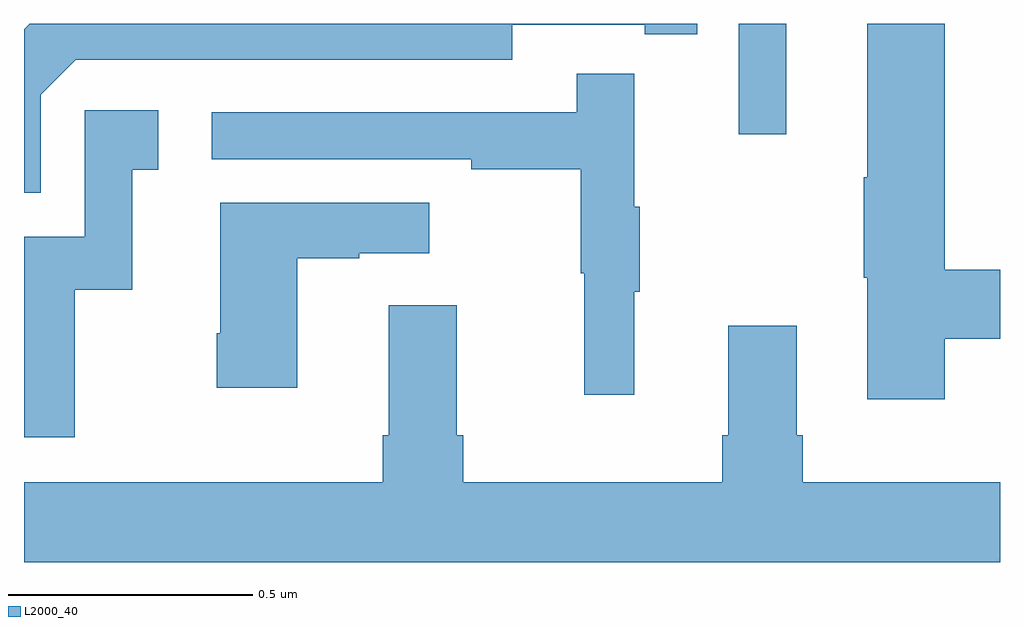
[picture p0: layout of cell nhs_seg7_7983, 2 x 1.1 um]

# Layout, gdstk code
import gdstk
lib = gdstk.Library(unit=1e-6, precision=1e-09)
def R(c, l, rs):  # rectangles x0, y0, x1, y1
    for r in rs: c.add(gdstk.rectangle(r[:2], r[2:], *l))
def P(c, l, *ps):  # polygons
    for p in ps: c.add(gdstk.Polygon(p, *l))
L2000_40 = (2000, 40)

nhs_seg7_7983 = lib.new_cell('nhs_seg7_7983')
R(nhs_seg7_7983, L2000_40, [(219.465,1054.773,219.562,1055)])
P(nhs_seg7_7983, L2000_40, [(218.034,1054.854),(218.106,1054.926),(219,1054.926),(219,1054.998),(219.272,1054.998),(219.272,1054.978),(219.38,1054.978),(219.38,1055),(218.012,1055),(218,1054.988),(218,1054.653),(218.034,1054.653)],
  [(219.887,1054.354),(220,1054.354),(220,1054.496),(219.887,1054.496),(219.887,1055),(219.728,1055),(219.728,1054.685),(219.721,1054.685),(219.721,1054.479),(219.728,1054.479),(219.728,1054.23),(219.887,1054.23)],
  [(219.251,1054.451),(219.262,1054.451),(219.262,1054.625),(219.251,1054.625),(219.251,1054.897),(219.133,1054.897),(219.133,1054.818),(218.385,1054.818),(218.385,1054.722),(218.917,1054.722),(218.917,1054.702),(219.141,1054.702),(219.141,1054.488),(219.148,1054.488),(219.148,1054.239),(219.251,1054.239)],
  [(218.104,1054.455),(218.222,1054.455),(218.222,1054.701),(218.275,1054.701),(218.275,1054.822),(218.124,1054.822),(218.124,1054.563),(218,1054.563),(218,1054.152),(218.104,1054.152)],
  [(218.56,1054.519),(218.687,1054.519),(218.687,1054.529),(218.83,1054.529),(218.83,1054.633),(218.402,1054.633),(218.402,1054.366),(218.395,1054.366),(218.395,1054.254),(218.56,1054.254)],
  [(220,1054.06),(219.596,1054.06),(219.596,1054.156),(219.583,1054.156),(219.583,1054.381),(219.443,1054.381),(219.443,1054.156),(219.431,1054.156),(219.431,1054.06),(218.9,1054.06),(218.9,1054.156),(218.887,1054.156),(218.887,1054.423),(218.747,1054.423),(218.747,1054.156),(218.735,1054.156),(218.735,1054.06),(218,1054.06),(218,1053.896),(220,1053.896)])

lib.write_gds('nhs_seg7_7983.gds')
